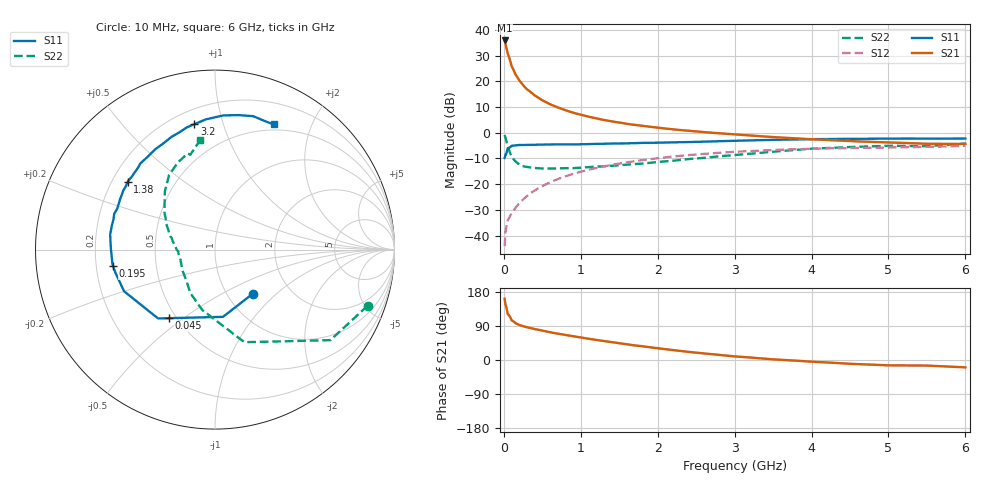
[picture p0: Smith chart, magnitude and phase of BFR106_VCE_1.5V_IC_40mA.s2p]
! Infineon Technologies  Discrete & RF Semiconductors
! BFR106
! VCE =  1.5 V,  IC =  40 mA
! Common Emitter S-Parameters:  Nov 2015
# GHz  S  MA  R  50
!  f  S11  S21  S12  S22
! GHz  MAG  ANG  MAG  ANG  MAG  ANG  MAG  ANG
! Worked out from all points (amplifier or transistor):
!   210 points, 10 MHz to 6 GHz, reference 50 ohm
!   highest |S21| = 35.9 dB at 10 MHz (marker M1)
!   |S21| within 3 dB of that: start of sweep to 34.73 MHz
!   unconditionally stable (mu >= 1): 245.4 MHz to 2.932 GHz; 4.527 GHz to end of sweep
!   at 185 MHz: K = 0.93, MSG = 24.6 dB, |S12| = -28.0 dB
!   at 1.52 GHz: K = 1.06, MAG = 6.4 dB, |S12| = -11.9 dB
!   at 6 GHz: K = 1.01, MAG = -0.3 dB, |S12| = -5.1 dB
!   S11 on the Smith chart (normalised r, x): 10 MHz: 1.31, -0.72; 45 MHz: 0.46, -0.44; 195 MHz: 0.27, -0.07; 1.38 GHz: 0.26, +0.32; 3.2 GHz: 0.29, +0.81; 6 GHz: 0.43, +1.49
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0.01  0.3236 -49.6  62.44 161.6  0.0062 79.8  0.9057 -20.2
0.02  0.3773 -83.2  55.1 147.3  0.0113 68.1  0.8176 -38.1
0.045  0.4605 -123.9  37.74 127.6  0.0181 57.1  0.5689 -64.6
0.05  0.4978 -129.6  35.12 121.5  0.0195 55.8  0.5413 -72.4
0.1  0.5574 -155.4  20.08 105.0  0.0269 57.4  0.3435 -102.0
0.15  0.5684 -166.0  13.72 97.2  0.0342 60.7  0.2777 -119.8
0.195  0.576 -171.0  10.8 93.1  0.0414 63.5  0.2436 -129.4
0.24  0.5767 -175.1  8.803 89.8  0.0486 65.4  0.2262 -138.2
0.26  0.5773 -176.6  8.114 88.4  0.0519 66.1  0.2217 -141.3
0.3  0.5791 -179.0  7.026 86.3  0.0586 67.4  0.2162 -146.0
0.4  0.5848 175.2  5.326 81.6  0.0749 68.8  0.2061 -155.5
0.5  0.59 171.6  4.278 77.4  0.0916 68.7  0.2009 -161.9
0.6  0.5905 167.3  3.587 73.3  0.1081 68.3  0.2001 -166.0
0.7  0.5898 163.6  3.111 69.5  0.1251 67.4  0.2029 -169.6
1.02  0.5975 152.8  2.198 58.8  0.1774 63.4  0.2098 -178.6
1.38  0.6152 142.4  1.683 47.8  0.2332 57.5  0.2261 173.4
2.02  0.6405 125.2  1.243 30.5  0.3215 46.5  0.2714 160.4
3.1  0.7028 101.2  0.903 8.1  0.4325 28.4  0.379 137.9
3.2  0.7079 99.4  0.882 6.6  0.4398 26.8  0.3907 135.9
4.1  0.7508 85.1  0.734 -5.4  0.4918 13.5  0.4952 119.8
5.1  0.7715 73.0  0.638 -14.2  0.5194 2.0  0.5548 105.6
6  0.7709 64.8  0.605 -19.4  0.5539 -6.9  0.6161 97.7
